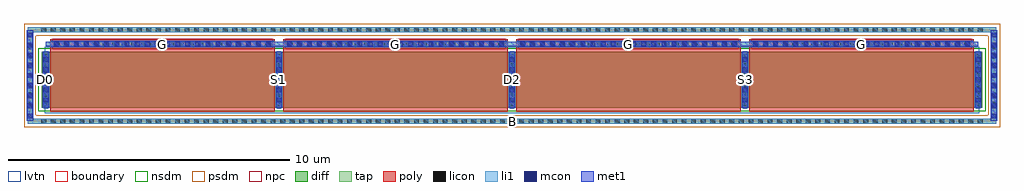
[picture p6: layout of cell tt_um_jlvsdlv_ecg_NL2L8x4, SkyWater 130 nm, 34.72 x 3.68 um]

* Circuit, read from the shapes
.subckt tt_um_jlvsdlv_ecg_NL2L8x4 B D0 D2 G S1 S3
XM1 S1 G D0 B sky130_fd_pr__nfet_01v8_lvt w=2 l=8
XM2 D2 G S1 B sky130_fd_pr__nfet_01v8_lvt w=2 l=8
XM3 S3 G D2 B sky130_fd_pr__nfet_01v8_lvt w=2 l=8
XM4 n1 G S3 B sky130_fd_pr__nfet_01v8_lvt w=2 l=8
.ends

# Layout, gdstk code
import gdstk
lib = gdstk.Library(unit=1e-6, precision=1e-09)
def R(c, l, rs):  # rectangles x0, y0, x1, y1
    for r in rs: c.add(gdstk.rectangle(r[:2], r[2:], *l))
def A(c, l, x, y, w, h, nx, ny, dx, dy):  # array of equal rectangles
    R(c, l, [(x+i*dx, y+j*dy, x+i*dx+w, y+j*dy+h) for i in range(nx) for j in range(ny)])
diff = (65, 20)
tap = (65, 44)
poly = (66, 20)
licon = (66, 44)
li1 = (67, 20)
mcon = (67, 44)
met1 = (68, 20)
nsdm = (93, 44)
psdm = (94, 20)
npc = (95, 20)
lvtn = (125, 44)
boundary = (235, 4)

tt_um_jlvsdlv_ecg_nl2l8x = lib.new_cell('tt_um_jlvsdlv_ecg_NL2L8x4')
R(tt_um_jlvsdlv_ecg_nl2l8x, diff, [(-16.725,-1.155,16.725,0.845)])
R(tt_um_jlvsdlv_ecg_nl2l8x, tap, [(-17.235,-1.715,17.235,-1.545), (-17.235,-1.545,-17.065,1.545), (17.065,-1.545,17.235,1.545), (-17.235,1.545,17.235,1.715)])
A(tt_um_jlvsdlv_ecg_nl2l8x, poly, -16.435, -1.285, 8, 2.57, 4, 1, 8.29, 0)
A(tt_um_jlvsdlv_ecg_nl2l8x, licon, -16.745, -1.715, 0.17, 0.17, 99, 2, 0.34, 3.26)
A(tt_um_jlvsdlv_ecg_nl2l8x, licon, -17.235, -1.105, 0.17, 0.17, 1, 7, 0, 0.34)
A(tt_um_jlvsdlv_ecg_nl2l8x, licon, 17.065, -1.105, 0.17, 0.17, 1, 7, 0, 0.34)
A(tt_um_jlvsdlv_ecg_nl2l8x, licon, -16.665, -1.09, 0.17, 0.17, 5, 6, 8.29, 0.34)
A(tt_um_jlvsdlv_ecg_nl2l8x, licon, -16.26, 1.035, 0.17, 0.17, 23, 1, 0.34, 0)
A(tt_um_jlvsdlv_ecg_nl2l8x, licon, -7.97, 1.035, 0.17, 0.17, 23, 1, 0.34, 0)
A(tt_um_jlvsdlv_ecg_nl2l8x, licon, 0.32, 1.035, 0.17, 0.17, 23, 1, 0.34, 0)
A(tt_um_jlvsdlv_ecg_nl2l8x, licon, 8.61, 1.035, 0.17, 0.17, 23, 1, 0.34, 0)
A(tt_um_jlvsdlv_ecg_nl2l8x, li1, -16.665, -1.175, 0.17, 2.04, 5, 1, 8.29, 0)
R(tt_um_jlvsdlv_ecg_nl2l8x, li1, [(-17.235,-1.715,17.235,-1.545), (-17.235,-1.545,-17.065,1.545), (17.065,-1.545,17.235,1.545), (-16.58,1.035,16.58,1.205), (-17.235,1.545,17.235,1.715)])
A(tt_um_jlvsdlv_ecg_nl2l8x, mcon, -17.235, -1.525, 0.17, 0.17, 1, 9, 0, 0.36)
A(tt_um_jlvsdlv_ecg_nl2l8x, mcon, 17.065, -1.525, 0.17, 0.17, 1, 9, 0, 0.36)
A(tt_um_jlvsdlv_ecg_nl2l8x, mcon, -16.665, -0.96, 0.17, 0.17, 5, 5, 8.29, 0.36)
A(tt_um_jlvsdlv_ecg_nl2l8x, mcon, -16.3, 1.035, 0.17, 0.17, 22, 1, 0.36, 0)
A(tt_um_jlvsdlv_ecg_nl2l8x, mcon, -8.01, 1.035, 0.17, 0.17, 22, 1, 0.36, 0)
A(tt_um_jlvsdlv_ecg_nl2l8x, mcon, 0.28, 1.035, 0.17, 0.17, 22, 1, 0.36, 0)
A(tt_um_jlvsdlv_ecg_nl2l8x, mcon, 8.57, 1.035, 0.17, 0.17, 22, 1, 0.36, 0)
A(tt_um_jlvsdlv_ecg_nl2l8x, met1, -16.695, -1.155, 0.23, 2, 5, 1, 8.29, 0)
A(tt_um_jlvsdlv_ecg_nl2l8x, met1, -16.415, 1.005, 7.96, 0.03, 4, 2, 8.29, 0.2)
R(tt_um_jlvsdlv_ecg_nl2l8x, met1, [(-17.265,-1.605,-17.035,1.605), (17.035,-1.605,17.265,1.605), (-16.58,1.035,16.58,1.205)])
R(tt_um_jlvsdlv_ecg_nl2l8x, nsdm, [(-16.85,-1.28,16.85,0.97)])
R(tt_um_jlvsdlv_ecg_nl2l8x, psdm, [(-17.36,-1.84,17.36,-1.42), (-17.36,-1.42,-16.94,1.42), (16.94,-1.42,17.36,1.42), (-17.36,1.42,17.36,1.84)])
A(tt_um_jlvsdlv_ecg_nl2l8x, npc, -16.36, 0.935, 7.85, 0.37, 4, 1, 8.29, 0)
R(tt_um_jlvsdlv_ecg_nl2l8x, lvtn, [(-16.615,-1.335,16.615,1.025)])
R(tt_um_jlvsdlv_ecg_nl2l8x, boundary, [(-17.15,-1.63,17.15,1.63)])
tt_um_jlvsdlv_ecg_nl2l8x.add(gdstk.Label('B', (0,-1.63), layer=67, texttype=5))
tt_um_jlvsdlv_ecg_nl2l8x.add(gdstk.Label('D0', (-16.58,-0.155), layer=67, texttype=5))
tt_um_jlvsdlv_ecg_nl2l8x.add(gdstk.Label('G', (12.435,1.12), layer=67, texttype=5))
tt_um_jlvsdlv_ecg_nl2l8x.add(gdstk.Label('G', (4.145,1.12), layer=67, texttype=5))
tt_um_jlvsdlv_ecg_nl2l8x.add(gdstk.Label('G', (-4.145,1.12), layer=67, texttype=5))
tt_um_jlvsdlv_ecg_nl2l8x.add(gdstk.Label('G', (-12.435,1.12), layer=67, texttype=5))
tt_um_jlvsdlv_ecg_nl2l8x.add(gdstk.Label('S1', (-8.29,-0.155), layer=67, texttype=5))
tt_um_jlvsdlv_ecg_nl2l8x.add(gdstk.Label('D2', (0,-0.155), layer=67, texttype=5))
tt_um_jlvsdlv_ecg_nl2l8x.add(gdstk.Label('S3', (8.29,-0.155), layer=67, texttype=5))

lib.write_gds('tt_um_jlvsdlv_ecg_NL2L8x4.gds')
